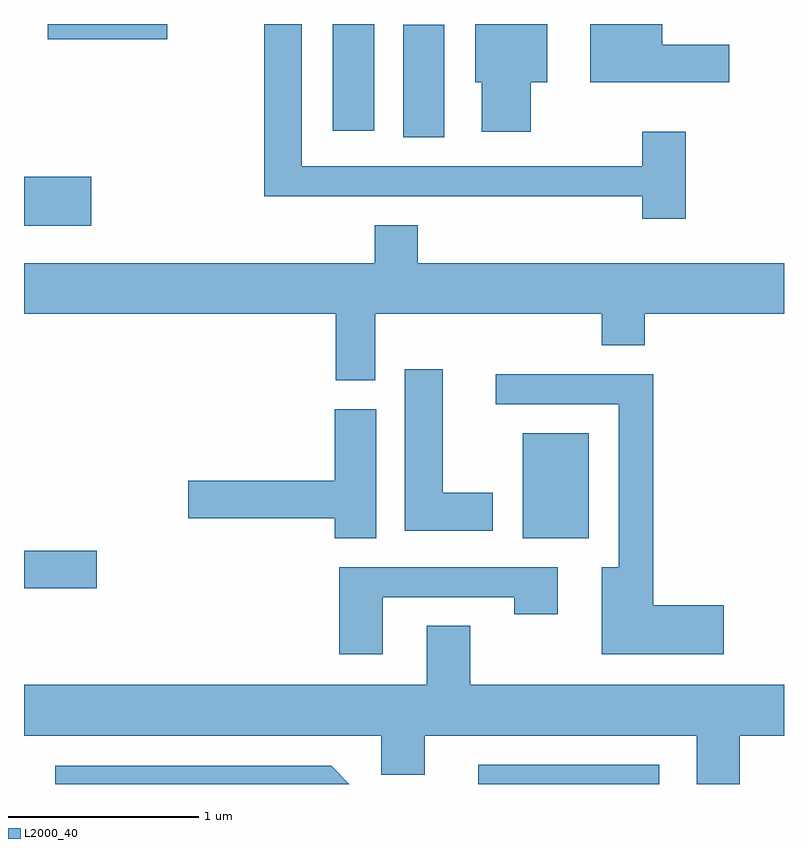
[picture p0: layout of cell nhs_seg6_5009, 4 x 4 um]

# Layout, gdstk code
import gdstk
lib = gdstk.Library(unit=1e-6, precision=1e-09)
def R(c, l, rs):  # rectangles x0, y0, x1, y1
    for r in rs: c.add(gdstk.rectangle(r[:2], r[2:], *l))
def P(c, l, *ps):  # polygons
    for p in ps: c.add(gdstk.Polygon(p, *l))
L2000_40 = (2000, 40)

nhs_seg6_5009 = lib.new_cell('nhs_seg6_5009')
R(nhs_seg6_5009, L2000_40, [(340.001,1614.162,340.954,1614.264), (337.611,1615.191,337.994,1615.389), (340.236,1615.456,340.584,1616.009), (337.611,1617.101,337.964,1617.359), (339.606,1617.566,339.824,1618.159), (339.236,1617.601,339.454,1618.162), (337.736,1618.081,338.364,1618.162)])
P(nhs_seg6_5009, L2000_40, [(341.094,1617.594),(340.866,1617.594),(340.866,1617.414),(339.074,1617.414),(339.074,1618.162),(338.876,1618.162),(338.876,1617.256),(340.866,1617.256),(340.866,1617.136),(341.094,1617.136)],
  [(341.324,1618.054),(340.969,1618.054),(340.969,1618.162),(340.591,1618.162),(340.591,1617.856),(341.324,1617.856)],
  [(340.279,1617.856),(340.364,1617.856),(340.364,1618.162),(339.986,1618.162),(339.986,1617.856),(340.021,1617.856),(340.021,1617.596),(340.279,1617.596)],
  [(339.459,1616.636),(340.651,1616.636),(340.651,1616.471),(340.879,1616.471),(340.879,1616.636),(341.611,1616.636),(341.611,1616.904),(339.684,1616.904),(339.684,1617.104),(339.456,1617.104),(339.456,1616.904),(337.611,1616.904),(337.611,1616.636),(339.251,1616.636),(339.251,1616.286),(339.459,1616.286)],
  [(340.079,1615.694),(339.814,1615.694),(339.814,1616.344),(339.616,1616.344),(339.616,1615.496),(340.079,1615.496)],
  [(341.294,1615.104),(340.924,1615.104),(340.924,1616.319),(340.093,1616.319),(340.093,1616.161),(340.741,1616.161),(340.741,1615.304),(340.651,1615.304),(340.651,1614.846),(341.294,1614.846)],
  [(339.464,1616.134),(339.246,1616.134),(339.246,1615.759),(338.476,1615.759),(338.476,1615.561),(339.246,1615.561),(339.246,1615.456),(339.464,1615.456)],
  [(339.499,1615.146),(340.191,1615.146),(340.191,1615.056),(340.419,1615.056),(340.419,1615.304),(339.271,1615.304),(339.271,1614.846),(339.499,1614.846)],
  [(341.379,1614.416),(341.611,1614.416),(341.611,1614.684),(339.959,1614.684),(339.959,1614.994),(339.731,1614.994),(339.731,1614.684),(337.611,1614.684),(337.611,1614.416),(339.491,1614.416),(339.491,1614.211),(339.719,1614.211),(339.719,1614.416),(341.151,1614.416),(341.151,1614.162),(341.379,1614.162)],
  [(339.227,1614.259),(337.776,1614.259),(337.776,1614.162),(339.324,1614.162)])

lib.write_gds('nhs_seg6_5009.gds')
